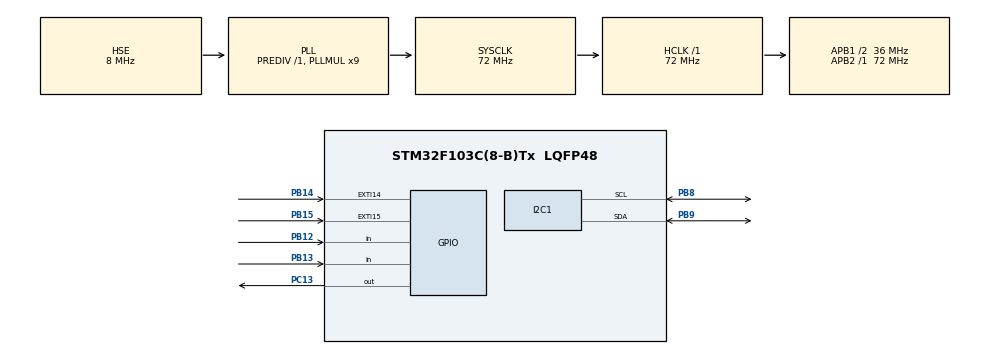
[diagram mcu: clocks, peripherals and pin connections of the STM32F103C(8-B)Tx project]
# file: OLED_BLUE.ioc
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I2C1.I2C_Mode=I2C_Fast
Mcu.Family=STM32F1
Mcu.Name=STM32F103C(8-B)Tx
Mcu.Package=LQFP48
NVIC.EXTI15_10_IRQn=true\:0\:0\:false\:false\:true\:true\:true\:true
NVIC.PriorityGroup=NVIC_PRIORITYGROUP_4
PA13.Mode=Serial_Wire
PA13.Signal=SYS_JTMS-SWDIO
PA14.Mode=Serial_Wire
PA14.Signal=SYS_JTCK-SWCLK
PB12.Signal=GPIO_Input
PB13.Signal=GPIO_Input
PB14.Signal=GPXTI14
PB15.Signal=GPXTI15
PB8.Mode=I2C
PB8.Signal=I2C1_SCL
PB9.Mode=I2C
PB9.Signal=I2C1_SDA
PC13-TAMPER-RTC.Signal=GPIO_Output
PD0-OSC_IN.Mode=HSE-External-Oscillator
PD0-OSC_IN.Signal=RCC_OSC_IN
PD1-OSC_OUT.Mode=HSE-External-Oscillator
PD1-OSC_OUT.Signal=RCC_OSC_OUT
ProjectManager.HeapSize=0x200
ProjectManager.StackSize=0x400
ProjectManager.TargetToolchain=STM32CubeIDE
RCC.AHBFreq_Value=72000000
RCC.APB1CLKDivider=RCC_HCLK_DIV2
RCC.APB1Freq_Value=36000000
RCC.APB1TimFreq_Value=72000000
RCC.APB2Freq_Value=72000000
RCC.APB2TimFreq_Value=72000000
RCC.HCLKFreq_Value=72000000
RCC.PLLMUL=RCC_PLL_MUL9
RCC.PLLSourceVirtual=RCC_PLLSOURCE_HSE
RCC.SYSCLKFreq_VALUE=72000000
RCC.SYSCLKSource=RCC_SYSCLKSOURCE_PLLCLK
RCC.USBFreq_Value=72000000
board=custom

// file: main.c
/* USER CODE BEGIN Header */
/**
  ******************************************************************************
  * @file           : main.c
  * @brief          : Main program body
  ******************************************************************************
  * @attention
  *
  * Copyright (c) 2025 STMicroelectronics.
  * All rights reserved.
  *
  * This software is licensed under terms that can be found in the LICENSE file
  * in the root directory of this software component.
  * If no LICENSE file comes with this software, it is provided AS-IS.
  *
  ******************************************************************************
  */
/* USER CODE END Header */
#include "main.h"

/* USER CODE BEGIN Includes */

#include "ssd1306.h"
#include "fonts.h"
#include "imagenes.h"
#include "delays.h"

#include "stdio.h"
#include "stdint.h"
#include "stdlib.h"
#include "string.h"

/* USER CODE END Includes */

/* USER CODE BEGIN PTD */

char palabras[16]; // sprint maximo 16 letras por pantalla

//menu principal
#define MENU_TOTAL_OPCIONES    9
#define MENU_VISIBLE_OPCIONES  3

typedef enum{
    MENU_PRINCIPAL,
    MENU_OPCION,
    SUBMENU_TIPO_BOOT,
    SUBMENU_I_MAX_BOOT,
    SUBMENU_I_MAX,
    SUBMENU_I_STOP,
    SUBMENU_I_F1,
    SUBMENU_I_F2,
    SUBMENU_I_F3,
    SUBMENU_UPKEEP,
    SUBMENU_UPKEEP_CHANGE_PASS
}MenuState_t;

MenuState_t menu_state = MENU_PRINCIPAL;

uint8_t menu_index  = 0;   // opción seleccionada
uint8_t menu_offset = 0;   // inicio de ventana visible

/* Texto del menú (≤11 caracteres) */
const char *menu_items[MENU_TOTAL_OPCIONES] = {
    " Tipo_Boot ",
    " I Max Boot",
    " I MAX ",
    " I Stop ",
    " I-F1 ",
    " I-F2 ",
    " I-F3 ",
    " Alarmas ",
    " Upkeep "
};

typedef enum {
    TIPO_MONO_F = 0,
    TIPO_BI_F = 1,
    TIPO_TRI_F = 2
} TipoBoot_t;

TipoBoot_t tipo_boot_seleccionado = TIPO_MONO_F;
uint8_t tipo_boot_index = 0;

const char *tipo_boot_items[3] = {
    "Mono_F",
    "Bi_F",
    "Tri_F"
};

uint8_t i_max_boot_corriente = 0;      // 0-50 Amperios
uint8_t i_max_boot_tiempo = 0;         // Tiempo de estabilización
uint8_t i_max_boot_campo = 0;          // 0=corriente, 1=tiempo

uint8_t i_max_corriente[3] = {0, 0, 0};  // Para mono_F, Bi_F, Tri_F
uint8_t i_max_tiempo[3] = {0, 0, 0};     // Para mono_F, Bi_F, Tri_F
uint8_t i_max_campo = 0;                  // 0=corriente, 1=tiempo
uint8_t i_max_fase_sel = 0;               // Fase seleccionada para editar

uint8_t i_stop_corriente = 0;          // 0-50 Amperios para paro de emergencia

float i_f1_valor = 0.0f;
float i_f2_valor = 0.0f;
float i_f3_valor = 0.0f;

#define PASSWORD_LENGTH 4
uint8_t password_actual[PASSWORD_LENGTH] = {1, 2, 3, 4};  // Contraseña por defecto: 1234
uint8_t password_ingresada[PASSWORD_LENGTH] = {0, 0, 0, 0};
uint8_t password_nueva[PASSWORD_LENGTH] = {0, 0, 0, 0};
uint8_t password_pos = 0;               // Posición actual del dígito
uint8_t password_verificada = 0;        // 1 si la contraseña fue verificada
uint8_t cambiar_password_mode = 0;      // 1 si está en modo cambiar contraseña

/* ===================== VECTOR DE CONFIGURACION EN MEMORIA ===================== */
/*
 * Estructura del vector de configuración:
 * [0]  = tipo_boot_seleccionado (0=Mono_F, 1=Bi_F, 2=Tri_F)
 * [1]  = i_max_boot_corriente (0-50)
 * [2]  = i_max_boot_tiempo (0-50)
 * [3]  = i_max_corriente[0] - Mono_F (0-50)
 * [4]  = i_max_corriente[1] - Bi_F (0-50)
 * [5]  = i_max_corriente[2] - Tri_F (0-50)
 * [6]  = i_max_tiempo[0] - Mono_F (0-50)
 * [7]  = i_max_tiempo[1] - Bi_F (0-50)
 * [8]  = i_max_tiempo[2] - Tri_F (0-50)
 * [9]  = i_stop_corriente (0-50)
 * [10] = password_actual[0]
 * [11] = password_actual[1]
 * [12] = password_actual[2]
 * [13] = password_actual[3]
 * [14-17] = Reservado para valores flotantes I_F1 (4 bytes float)
 * [18-21] = Reservado para valores flotantes I_F2 (4 bytes float)
 * [22-25] = Reservado para valores flotantes I_F3 (4 bytes float)
 */

#define CONFIG_VECTOR_SIZE 26
uint8_t config_vector[CONFIG_VECTOR_SIZE];

// Función para actualizar el vector con los valores actuales
void Config_Update_Vector(void)
{
    config_vector[0] = (uint8_t)tipo_boot_seleccionado;
    config_vector[1] = i_max_boot_corriente;
    config_vector[2] = i_max_boot_tiempo;
    config_vector[3] = i_max_corriente[0];
    config_vector[4] = i_max_corriente[1];
    config_vector[5] = i_max_corriente[2];
    config_vector[6] = i_max_tiempo[0];
    config_vector[7] = i_max_tiempo[1];
    config_vector[8] = i_max_tiempo[2];
    config_vector[9] = i_stop_corriente;
    config_vector[10] = password_actual[0];
    config_vector[11] = password_actual[1];
    config_vector[12] = password_actual[2];
    config_vector[13] = password_actual[3];

    // Guardar floats como bytes (para I_F1, I_F2, I_F3)
    memcpy(&config_vector[14], &i_f1_valor, sizeof(float));
    memcpy(&config_vector[18], &i_f2_valor, sizeof(float));
    memcpy(&config_vector[22], &i_f3_valor, sizeof(float));
}

// Función para cargar valores desde el vector
void Config_Load_From_Vector(void)
{
    tipo_boot_seleccionado = (TipoBoot_t)config_vector[0];
    i_max_boot_corriente = config_vector[1];
    i_max_boot_tiempo = config_vector[2];
    i_max_corriente[0] = config_vector[3];
    i_max_corriente[1] = config_vector[4];
    i_max_corriente[2] = config_vector[5];
    i_max_tiempo[0] = config_vector[6];
    i_max_tiempo[1] = config_vector[7];
    i_max_tiempo[2] = config_vector[8];
    i_stop_corriente = config_vector[9];
    password_actual[0] = config_vector[10];
    password_actual[1] = config_vector[11];
    password_actual[2] = config_vector[12];
    password_actual[3] = config_vector[13];

    // Cargar floats desde bytes
    memcpy(&i_f1_valor, &config_vector[14], sizeof(float));
    memcpy(&i_f2_valor, &config_vector[18], sizeof(float));
    memcpy(&i_f3_valor, &config_vector[22], sizeof(float));
}

// Función para inicializar el vector con valores por defecto
void Config_Init_Default(void)
{
    memset(config_vector, 0, CONFIG_VECTOR_SIZE);
    config_vector[0] = TIPO_MONO_F;  // Tipo boot por defecto
    config_vector[10] = 1;           // Password: 1234
    config_vector[11] = 2;
    config_vector[12] = 3;
    config_vector[13] = 4;
    Config_Load_From_Vector();
}

// Función para obtener puntero al vector (útil para guardar en EEPROM/Flash)
uint8_t* Config_Get_Vector(void)
{
    Config_Update_Vector();
    return config_vector;
}

// Función para obtener el tamaño del vector
uint8_t Config_Get_Vector_Size(void)
{
    return CONFIG_VECTOR_SIZE;
}

uint8_t valores1=0, valores2=0;

#define BTN_ABAJO   (HAL_GPIO_ReadPin(GPIOB, GPIO_PIN_12) == GPIO_PIN_RESET)
#define BTN_ARRIBA  (HAL_GPIO_ReadPin(GPIOB, GPIO_PIN_13) == GPIO_PIN_RESET)

volatile uint8_t flag_btn_sel = 0;
volatile uint8_t flag_btn_atras = 0;

/* USER CODE END PTD */

I2C_HandleTypeDef hi2c1;

void SystemClock_Config(void);
static void MX_GPIO_Init(void);
static void MX_I2C1_Init(void);
/* USER CODE BEGIN PFP */
/* USER CODE BEGIN PFP */
void Menu_Draw(uint8_t index, uint8_t offset);
void Opcion_Draw(uint8_t index);
void menu(void);

void Submenu_TipoBoot_Draw(void);
void Submenu_TipoBoot_Handle(void);
void Submenu_IMaxBoot_Draw(void);
void Submenu_IMaxBoot_Handle(void);
void Submenu_IMax_Draw(void);
void Submenu_IMax_Handle(void);
void Submenu_IStop_Draw(void);
void Submenu_IStop_Handle(void);
void Submenu_IF_Draw(uint8_t fase);
void Submenu_Upkeep_Draw(void);
void Submenu_Upkeep_Handle(void);
void Submenu_Upkeep_ChangePass_Draw(void);
void Submenu_Upkeep_ChangePass_Handle(void);
uint8_t Verificar_Password(void);

// Funciones de configuración
void Config_Update_Vector(void);
void Config_Load_From_Vector(void);
void Config_Init_Default(void);
uint8_t* Config_Get_Vector(void);
uint8_t Config_Get_Vector_Size(void);
/* USER CODE END PFP */

/* USER CODE BEGIN 0 */

void HAL_GPIO_EXTI_Callback(uint16_t GPIO_Pin)
{
    if(GPIO_Pin == GPIO_PIN_14)  // Botón SEL
    {
        flag_btn_sel = 1;
    }
    else if(GPIO_Pin == GPIO_PIN_15)  // Botón ATRAS
    {
        flag_btn_atras = 1;
    }
}

/* USER CODE END 0 */

int main(void)
{

  /* MCU Configuration--------------------------------------------------------*/

  /* Reset of all peripherals, Initializes the Flash interface and the Systick. */
  HAL_Init();

  /* Configure the system clock */
  SystemClock_Config();

  /* Initialize all configured peripherals */
  MX_GPIO_Init();
  MX_I2C1_Init();
  /* USER CODE BEGIN 2 */
  OLED_init();

  	  OLED_print_text_inv(0,0, "Soft",&font2);
  	  OLED_print_text_inv(0,3, "starte",&font2);
 	  HAL_Delay(2000);

		//OLED_print_text(0,4,"carga",&font2);

 	    //OLED_print_text(0,4,"CANAL",&font4);
 	    //HAL_Delay(1000);

 	    //OLED_clear_screen();

 	    //OLED_DrawBitmap(0, 20,44,45,miperro, NOR,NO);
 	    //OLED_DrawBitmap(64, 20,44,40,perrillo, NOR,NO);
	  	//sprintf(palabras,"%d",valores1);

 	    //OLED_Draw_Rectangle(50, 40, 60, 60, FILL, nor, ROUND);
 	    //OLED_clear_screen();
  /* USER CODE END 2 */

  /* Infinite loop */
  while (1)
  {
	  menu();
	  HAL_Delay(100);
  }
}

void menu(void){
    switch(menu_state)
    {
        /* =============== MENU PRINCIPAL =============== */
        case MENU_PRINCIPAL:
            Menu_Draw(menu_index, menu_offset);

            if(BTN_ARRIBA)
            {
                if(menu_index < MENU_TOTAL_OPCIONES-1)
                {
                    menu_index++;
                    if(menu_index >= menu_offset + MENU_VISIBLE_OPCIONES)
                        menu_offset++;
                }
                HAL_Delay(200);
            }

            if(BTN_ABAJO)
            {
                if(menu_index > 0)
                {
                    menu_index--;
                    if(menu_index < menu_offset)
                        menu_offset--;
                }
                HAL_Delay(200);
            }

            if(flag_btn_sel)
            {
                flag_btn_sel = 0;  // Limpiar flag
                // Ir al submenú correspondiente
                switch(menu_index)
                {
                    case 0: menu_state = SUBMENU_TIPO_BOOT; tipo_boot_index = tipo_boot_seleccionado; break;
                    case 1: menu_state = SUBMENU_I_MAX_BOOT; i_max_boot_campo = 0; break;
                    case 2: menu_state = SUBMENU_I_MAX; i_max_campo = 0; i_max_fase_sel = 0; break;
                    case 3: menu_state = SUBMENU_I_STOP; break;
                    case 4: menu_state = SUBMENU_I_F1; break;
                    case 5: menu_state = SUBMENU_I_F2; break;
                    case 6: menu_state = SUBMENU_I_F3; break;
                    case 7: menu_state = MENU_OPCION; break;  // Alarmas (sin cambios)
                    case 8:
                        menu_state = SUBMENU_UPKEEP;
                        password_pos = 0;
                        password_verificada = 0;
                        cambiar_password_mode = 0;
                        memset(password_ingresada, 0, PASSWORD_LENGTH);
                        break;
                }
                HAL_Delay(200);
            }
        break;

        /* =============== PANTALLA OPCION GENERICA =============== */
        case MENU_OPCION:
            Opcion_Draw(menu_index);

            if(flag_btn_sel || flag_btn_atras)
            {
                flag_btn_sel = 0;
                flag_btn_atras = 0;
                menu_state = MENU_PRINCIPAL;
                HAL_Delay(200);
            }
        break;

        /* =============== SUBMENU TIPO BOOT =============== */
        case SUBMENU_TIPO_BOOT:
            Submenu_TipoBoot_Draw();
            Submenu_TipoBoot_Handle();
        break;

        /* =============== SUBMENU I MAX BOOT =============== */
        case SUBMENU_I_MAX_BOOT:
            Submenu_IMaxBoot_Draw();
            Submenu_IMaxBoot_Handle();
        break;

        /* =============== SUBMENU I MAX =============== */
        case SUBMENU_I_MAX:
            Submenu_IMax_Draw();
            Submenu_IMax_Handle();
        break;

        /* =============== SUBMENU I STOP =============== */
        case SUBMENU_I_STOP:
            Submenu_IStop_Draw();
            Submenu_IStop_Handle();
        break;

        /* =============== SUBMENU I-F1 =============== */
        case SUBMENU_I_F1:
            Submenu_IF_Draw(0);
            if(flag_btn_atras || flag_btn_sel)
            {
                flag_btn_atras = 0;
                flag_btn_sel = 0;
                menu_state = MENU_PRINCIPAL;
                HAL_Delay(200);
            }
        break;

        /* =============== SUBMENU I-F2 =============== */
        case SUBMENU_I_F2:
            Submenu_IF_Draw(1);
            if(flag_btn_atras || flag_btn_sel)
            {
                flag_btn_atras = 0;
                flag_btn_sel = 0;
                menu_state = MENU_PRINCIPAL;
                HAL_Delay(200);
            }
        break;

        /* =============== SUBMENU I-F3 =============== */
        case SUBMENU_I_F3:
            Submenu_IF_Draw(2);
            if(flag_btn_atras || flag_btn_sel)
            {
                flag_btn_atras = 0;
                flag_btn_sel = 0;
                menu_state = MENU_PRINCIPAL;
                HAL_Delay(200);
            }
        break;

        /* =============== SUBMENU UPKEEP =============== */
        case SUBMENU_UPKEEP:
            Submenu_Upkeep_Draw();
            Submenu_Upkeep_Handle();
        break;

        /* =============== SUBMENU CAMBIAR PASSWORD =============== */
        case SUBMENU_UPKEEP_CHANGE_PASS:
            Submenu_Upkeep_ChangePass_Draw();
            Submenu_Upkeep_ChangePass_Handle();
        break;
    }
}

/* ===================== FUNCIONES ===================== */

void Menu_Draw(uint8_t index, uint8_t offset)
{
    OLED_clear_screen();
    OLED_print_text_inv(20,0," MENU ",&font1);

    for(uint8_t i = 0; i < MENU_VISIBLE_OPCIONES; i++)
    {
        uint8_t item = offset + i;

        if(item < MENU_TOTAL_OPCIONES)
        {
            uint8_t y = 2 + (i * 2);   // Y válidos: 2,4,6

            if(item == index)
            {
                OLED_print_text_inv(0, y, ">", &font1);
                OLED_print_text_inv(8, y, menu_items[item], &font1);
            }
            else
            {
                OLED_print_text(8, y, menu_items[item], &font1);
            }
        }
    }
}

void Opcion_Draw(uint8_t index)
{
    OLED_clear_screen();
    OLED_print_text_inv(0,0, menu_items[index], &font1);
    OLED_print_text(0,6,"ATRAS=Salir",&font1);
}

/* ===================== SUBMENU TIPO BOOT ===================== */
void Submenu_TipoBoot_Draw(void)
{
    OLED_clear_screen();
    OLED_print_text_inv(0, 0, " Tipo_Boot ", &font1);

    for(uint8_t i = 0; i < 3; i++)
    {
        uint8_t y = 2 + (i * 2);
        if(i == tipo_boot_index)
        {
            OLED_print_text_inv(0, y, ">", &font1);
            OLED_print_text_inv(8, y, tipo_boot_items[i], &font1);
        }
        else
        {
            OLED_print_text(8, y, tipo_boot_items[i], &font1);
        }
    }
}

void Submenu_TipoBoot_Handle(void)
{
    if(BTN_ARRIBA)
    {
        if(tipo_boot_index < 2)
            tipo_boot_index++;
        HAL_Delay(200);
    }

    if(BTN_ABAJO)
    {
        if(tipo_boot_index > 0)
            tipo_boot_index--;
        HAL_Delay(200);
    }

    if(flag_btn_sel)
    {
        flag_btn_sel = 0;
        tipo_boot_seleccionado = (TipoBoot_t)tipo_boot_index;
        Config_Update_Vector();  // Actualizar vector al guardar
        menu_state = MENU_PRINCIPAL;
        HAL_Delay(200);
    }

    if(flag_btn_atras)
    {
        flag_btn_atras = 0;
        menu_state = MENU_PRINCIPAL;
        HAL_Delay(200);
    }
}

/* ===================== SUBMENU I MAX BOOT ===================== */
void Submenu_IMaxBoot_Draw(void)
{
    OLED_clear_screen();
    OLED_print_text_inv(0, 0, " I Max Boot", &font1);

    // Campo corriente
    if(i_max_boot_campo == 0)
        OLED_print_text_inv(0, 2, ">", &font1);
    sprintf(palabras, "I: %02d A", i_max_boot_corriente);
    OLED_print_text(8, 2, palabras, &font1);

    // Campo tiempo
    if(i_max_boot_campo == 1)
        OLED_print_text_inv(0, 4, ">", &font1);
    sprintf(palabras, "T: %02d s", i_max_boot_tiempo);
    OLED_print_text(8, 4, palabras, &font1);

    OLED_print_text(0, 6, "SEL=Campo", &font1);
}

void Submenu_IMaxBoot_Handle(void)
{
    if(BTN_ARRIBA)
    {
        if(i_max_boot_campo == 0)
        {
            if(i_max_boot_corriente < 50)
                i_max_boot_corriente++;
        }
        else
        {
            if(i_max_boot_tiempo < 50)
                i_max_boot_tiempo++;
        }
        HAL_Delay(150);
    }

    if(BTN_ABAJO)
    {
        if(i_max_boot_campo == 0)
        {
            if(i_max_boot_corriente > 0)
                i_max_boot_corriente--;
        }
        else
        {
            if(i_max_boot_tiempo > 0)
                i_max_boot_tiempo--;
        }
        HAL_Delay(150);
    }

    if(flag_btn_sel)
    {
        flag_btn_sel = 0;
        i_max_boot_campo = (i_max_boot_campo + 1) % 2;
        HAL_Delay(200);
    }

    if(flag_btn_atras)
    {
        flag_btn_atras = 0;
        Config_Update_Vector();  // Actualizar vector al salir
        menu_state = MENU_PRINCIPAL;
        HAL_Delay(200);
    }
}

/* ===================== SUBMENU I MAX ===================== */
void Submenu_IMax_Draw(void)
{
    OLED_clear_screen();

    // Mostrar título con fase actual
    sprintf(palabras, "I MAX-%s", tipo_boot_items[tipo_boot_seleccionado]);
    OLED_print_text_inv(0, 0, palabras, &font1);

    // Mostrar campos según el tipo de boot
    uint8_t fases_visibles = tipo_boot_seleccionado + 1;  // 1, 2 o 3 fases

    // Campo corriente
    if(i_max_campo == 0)
        OLED_print_text_inv(0, 2, ">", &font1);
    sprintf(palabras, "I: %02d A", i_max_corriente[tipo_boot_seleccionado]);
    OLED_print_text(8, 2, palabras, &font1);

    // Campo tiempo
    if(i_max_campo == 1)
        OLED_print_text_inv(0, 4, ">", &font1);
    sprintf(palabras, "T: %02d s", i_max_tiempo[tipo_boot_seleccionado]);
    OLED_print_text(8, 4, palabras, &font1);

    OLED_print_text(0, 6, "SEL=Campo", &font1);
}

void Submenu_IMax_Handle(void)
{
    if(BTN_ARRIBA)
    {
        if(i_max_campo == 0)
        {
            if(i_max_corriente[tipo_boot_seleccionado] < 50)
                i_max_corriente[tipo_boot_seleccionado]++;
        }
        else
        {
            if(i_max_tiempo[tipo_boot_seleccionado] < 50)
                i_max_tiempo[tipo_boot_seleccionado]++;
        }
        HAL_Delay(150);
    }

    if(BTN_ABAJO)
    {
        if(i_max_campo == 0)
        {
            if(i_max_corriente[tipo_boot_seleccionado] > 0)
                i_max_corriente[tipo_boot_seleccionado]--;
        }
        else
        {
            if(i_max_tiempo[tipo_boot_seleccionado] > 0)
                i_max_tiempo[tipo_boot_seleccionado]--;
        }
        HAL_Delay(150);
    }

    if(flag_btn_sel)
    {
        flag_btn_sel = 0;
        i_max_campo = (i_max_campo + 1) % 2;
        HAL_Delay(200);
    }

    if(flag_btn_atras)
    {
        flag_btn_atras = 0;
        Config_Update_Vector();  // Actualizar vector al salir
        menu_state = MENU_PRINCIPAL;
        HAL_Delay(200);
    }
}

/* ===================== SUBMENU I STOP ===================== */
void Submenu_IStop_Draw(void)
{
    OLED_clear_screen();
    OLED_print_text_inv(0, 0, " I Stop ", &font1);

    OLED_print_text(0, 2, "Paro Emerg:", &font1);
    sprintf(palabras, "I: %02d A", i_stop_corriente);
    OLED_print_text_inv(0, 4, palabras, &font1);

    OLED_print_text(0, 6, "ATRAS=Salir", &font1);
}

void Submenu_IStop_Handle(void)
{
    if(BTN_ARRIBA)
    {
        if(i_stop_corriente < 50)
            i_stop_corriente++;
        HAL_Delay(150);
    }

    if(BTN_ABAJO)
    {
        if(i_stop_corriente > 0)
            i_stop_corriente--;
        HAL_Delay(150);
    }

    if(flag_btn_atras || flag_btn_sel)
    {
        flag_btn_atras = 0;
        flag_btn_sel = 0;
        Config_Update_Vector();  // Actualizar vector al salir
        menu_state = MENU_PRINCIPAL;
        HAL_Delay(200);
    }
}

/* ===================== SUBMENU I-F1, I-F2, I-F3 ===================== */
void Submenu_IF_Draw(uint8_t fase)
{
    OLED_clear_screen();

    // Verificar si la fase es válida según el tipo de boot
    uint8_t fases_disponibles = tipo_boot_seleccionado + 1;

    sprintf(palabras, " I-F%d ", fase + 1);
    OLED_print_text_inv(0, 0, palabras, &font1);

    if(fase < fases_disponibles)
    {
        float valor = 0.0f;
        switch(fase)
        {
            case 0: valor = i_f1_valor; break;
            case 1: valor = i_f2_valor; break;
            case 2: valor = i_f3_valor; break;
        }

        sprintf(palabras, "%.2f A", valor);
        OLED_print_text(0, 3, palabras, &font1);
    }
    else
    {
        OLED_print_text(0, 3, "No Disp.", &font1);
        sprintf(palabras, "Req: %s", tipo_boot_items[fase]);
        OLED_print_text(0, 5, palabras, &font1);
    }

    OLED_print_text(0, 6, "ATRAS=Salir", &font1);
}

/* ===================== SUBMENU UPKEEP ===================== */
void Submenu_Upkeep_Draw(void)
{
    OLED_clear_screen();
    OLED_print_text_inv(0, 0, " Upkeep ", &font1);

    if(!password_verificada)
    {
        OLED_print_text(0, 2, "Password:", &font1);

        // Mostrar dígitos ingresados
        char pass_display[16] = "";
        for(uint8_t i = 0; i < PASSWORD_LENGTH; i++)
        {
            if(i == password_pos)
                sprintf(pass_display + strlen(pass_display), "[%d]", password_ingresada[i]);
            else
                sprintf(pass_display + strlen(pass_display), " %d ", password_ingresada[i]);
        }
        OLED_print_text(0, 4, pass_display, &font1);

        OLED_print_text(0, 6, "SEL=Sig ATR=Salir", &font1);
    }
    else
    {
        OLED_print_text(0, 2, "ACCESO OK", &font1);
        OLED_print_text(0, 4, "SEL+ATRAS", &font1);
        OLED_print_text(0, 6, "=Cambi.Pass", &font1);
        //OLED_print_text(0, 6, "ATRAS=Salir", &font1);
    }
}

void Submenu_Upkeep_Handle(void)
{
    if(flag_btn_atras && !flag_btn_sel)
    {
        flag_btn_atras = 0;
        menu_state = MENU_PRINCIPAL;
        password_verificada = 0;
        password_pos = 0;
        memset(password_ingresada, 0, PASSWORD_LENGTH);
        HAL_Delay(200);
        return;
    }

    if(!password_verificada)
    {
        if(BTN_ARRIBA)
        {
            if(password_ingresada[password_pos] < 9)
                password_ingresada[password_pos]++;
            else
                password_ingresada[password_pos] = 0;
            HAL_Delay(200);
        }

        if(BTN_ABAJO)
        {
            if(password_ingresada[password_pos] > 0)
                password_ingresada[password_pos]--;
            else
                password_ingresada[password_pos] = 9;
            HAL_Delay(200);
        }

        if(flag_btn_sel)
        {
            flag_btn_sel = 0;
            if(password_pos < PASSWORD_LENGTH - 1)
            {
                password_pos++;
            }
            else
            {
                // Verificar contraseña
                if(Verificar_Password())
                {
                    password_verificada = 1;
                }
                else
                {
                    // Reset si es incorrecta pero NO sale del menú
                    memset(password_ingresada, 0, PASSWORD_LENGTH);
                    password_pos = 0;
                }
            }
            HAL_Delay(200);
        }
    }
    else
    {
        // Ya verificada - comprobar combinación SEL+ATRAS para cambiar password
        if(flag_btn_sel && flag_btn_atras)
        {
            flag_btn_sel = 0;
            flag_btn_atras = 0;
            menu_state = SUBMENU_UPKEEP_CHANGE_PASS;
            password_pos = 0;
            memset(password_nueva, 0, PASSWORD_LENGTH);
            HAL_Delay(300);
        }
    }
}

/* ===================== SUBMENU CAMBIAR PASSWORD ===================== */
void Submenu_Upkeep_ChangePass_Draw(void)
{
    OLED_clear_screen();
    OLED_print_text_inv(0, 0, "Nueva Pass", &font1);

    // Mostrar dígitos de nueva contraseña
    char pass_display[16] = "";
    for(uint8_t i = 0; i < PASSWORD_LENGTH; i++)
    {
        if(i == password_pos)
            sprintf(pass_display + strlen(pass_display), "[%d]", password_nueva[i]);
        else
            sprintf(pass_display + strlen(pass_display), " %d ", password_nueva[i]);
    }
    OLED_print_text(0, 3, pass_display, &font1);

    OLED_print_text(0, 6, "SEL=Guardar", &font1);
}

void Submenu_Upkeep_ChangePass_Handle(void)
{
    if(flag_btn_atras)
    {
        flag_btn_atras = 0;
        menu_state = SUBMENU_UPKEEP;
        password_pos = 0;
        HAL_Delay(200);
        return;
    }

    if(BTN_ARRIBA)
    {
        if(password_nueva[password_pos] < 9)
            password_nueva[password_pos]++;
        else
            password_nueva[password_pos] = 0;
        HAL_Delay(200);
    }

    if(BTN_ABAJO)
    {
        if(password_nueva[password_pos] > 0)
            password_nueva[password_pos]--;
        else
            password_nueva[password_pos] = 9;
        HAL_Delay(200);
    }

    if(flag_btn_sel)
    {
        flag_btn_sel = 0;
        if(password_pos < PASSWORD_LENGTH - 1)
        {
            password_pos++;
        }
        else
        {
            // Guardar nueva contraseña
            memcpy(password_actual, password_nueva, PASSWORD_LENGTH);
            Config_Update_Vector();  // Actualizar vector al guardar nueva contraseña
            menu_state = SUBMENU_UPKEEP;
            password_pos = 0;
        }
        HAL_Delay(200);
    }
}

/* ===================== VERIFICAR PASSWORD ===================== */
uint8_t Verificar_Password(void)
{
    for(uint8_t i = 0; i < PASSWORD_LENGTH; i++)
    {
        if(password_ingresada[i] != password_actual[i])
            return 0;
    }
    return 1;
}

void SystemClock_Config(void)
{
  RCC_OscInitTypeDef RCC_OscInitStruct = {0};
  RCC_ClkInitTypeDef RCC_ClkInitStruct = {0};

  /** Initializes the RCC Oscillators according to the specified parameters
  * in the RCC_OscInitTypeDef structure.
  */
  RCC_OscInitStruct.OscillatorType = RCC_OSCILLATORTYPE_HSE;
  RCC_OscInitStruct.HSEState = RCC_HSE_ON;
  RCC_OscInitStruct.HSEPredivValue = RCC_HSE_PREDIV_DIV1;
  RCC_OscInitStruct.HSIState = RCC_HSI_ON;
  RCC_OscInitStruct.PLL.PLLState = RCC_PLL_ON;
  RCC_OscInitStruct.PLL.PLLSource = RCC_PLLSOURCE_HSE;
  RCC_OscInitStruct.PLL.PLLMUL = RCC_PLL_MUL9;
  if (HAL_RCC_OscConfig(&RCC_OscInitStruct) != HAL_OK)
  {
    Error_Handler();
  }

  /** Initializes the CPU, AHB and APB buses clocks
  */
  RCC_ClkInitStruct.ClockType = RCC_CLOCKTYPE_HCLK|RCC_CLOCKTYPE_SYSCLK
                              |RCC_CLOCKTYPE_PCLK1|RCC_CLOCKTYPE_PCLK2;
  RCC_ClkInitStruct.SYSCLKSource = RCC_SYSCLKSOURCE_PLLCLK;
  RCC_ClkInitStruct.AHBCLKDivider = RCC_SYSCLK_DIV1;
  RCC_ClkInitStruct.APB1CLKDivider = RCC_HCLK_DIV2;
  RCC_ClkInitStruct.APB2CLKDivider = RCC_HCLK_DIV1;

  if (HAL_RCC_ClockConfig(&RCC_ClkInitStruct, FLASH_LATENCY_2) != HAL_OK)
  {
    Error_Handler();
  }
}

static void MX_I2C1_Init(void)
{

  hi2c1.Instance = I2C1;
  hi2c1.Init.ClockSpeed = 400000;
  hi2c1.Init.DutyCycle = I2C_DUTYCYCLE_2;
  hi2c1.Init.OwnAddress1 = 0;
  hi2c1.Init.AddressingMode = I2C_ADDRESSINGMODE_7BIT;
  hi2c1.Init.DualAddressMode = I2C_DUALADDRESS_DISABLE;
  hi2c1.Init.OwnAddress2 = 0;
  hi2c1.Init.GeneralCallMode = I2C_GENERALCALL_DISABLE;
  hi2c1.Init.NoStretchMode = I2C_NOSTRETCH_DISABLE;
  if (HAL_I2C_Init(&hi2c1) != HAL_OK)
  {
    Error_Handler();
  }

}

static void MX_GPIO_Init(void)
{
  GPIO_InitTypeDef GPIO_InitStruct = {0};

  /* GPIO Ports Clock Enable */
  __HAL_RCC_GPIOC_CLK_ENABLE();
  __HAL_RCC_GPIOD_CLK_ENABLE();
  __HAL_RCC_GPIOB_CLK_ENABLE();
  __HAL_RCC_GPIOA_CLK_ENABLE();

  /*Configure GPIO pin Output Level */
  HAL_GPIO_WritePin(GPIOC, GPIO_PIN_13, GPIO_PIN_RESET);

  /*Configure GPIO pin : PC13 */
  GPIO_InitStruct.Pin = GPIO_PIN_13;
  GPIO_InitStruct.Mode = GPIO_MODE_OUTPUT_PP;
  GPIO_InitStruct.Pull = GPIO_NOPULL;
  GPIO_InitStruct.Speed = GPIO_SPEED_FREQ_LOW;
  HAL_GPIO_Init(GPIOC, &GPIO_InitStruct);

  /*Configure GPIO pins : PB12 PB13 */
  GPIO_InitStruct.Pin = GPIO_PIN_12|GPIO_PIN_13;
  GPIO_InitStruct.Mode = GPIO_MODE_INPUT;
  GPIO_InitStruct.Pull = GPIO_NOPULL;
  HAL_GPIO_Init(GPIOB, &GPIO_InitStruct);

  /*Configure GPIO pins : PB14 PB15 */
  GPIO_InitStruct.Pin = GPIO_PIN_14|GPIO_PIN_15;
  GPIO_InitStruct.Mode = GPIO_MODE_IT_RISING;
  GPIO_InitStruct.Pull = GPIO_NOPULL;
  HAL_GPIO_Init(GPIOB, &GPIO_InitStruct);

  /* EXTI interrupt init*/
  HAL_NVIC_SetPriority(EXTI15_10_IRQn, 0, 0);
  HAL_NVIC_EnableIRQ(EXTI15_10_IRQn);

}

void Error_Handler(void)
{
  __disable_irq();
  while (1)
  {
  }
}
